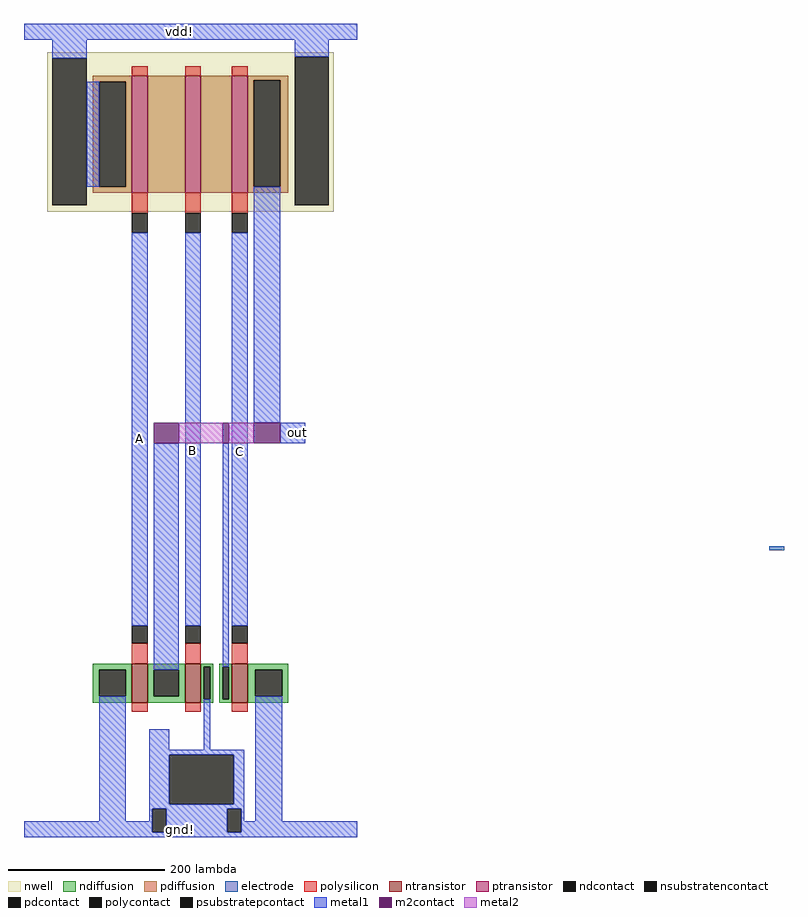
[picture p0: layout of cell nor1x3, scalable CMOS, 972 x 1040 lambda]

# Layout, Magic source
magic
tech scmos
<< nwell >>
rect -174 336 192 540
<< polysilicon >>
rect -66 510 -46 522
rect 2 510 22 522
rect 62 510 82 522
rect -66 334 -46 360
rect 2 334 22 360
rect 62 334 82 360
rect -66 -242 -46 -216
rect 2 -242 22 -216
rect 62 -242 82 -216
rect -66 -304 -46 -292
rect 2 -304 22 -292
rect 62 -304 82 -292
<< electrode >>
rect 749 -97 768 -92
<< ndiffusion >>
rect -116 -250 -66 -242
rect -116 -284 -108 -250
rect -74 -284 -66 -250
rect -116 -292 -66 -284
rect -46 -250 2 -242
rect -46 -284 -38 -250
rect -6 -284 2 -250
rect -46 -292 2 -284
rect 22 -246 38 -242
rect 22 -288 26 -246
rect 34 -288 38 -246
rect 22 -292 38 -288
rect 46 -246 62 -242
rect 46 -288 50 -246
rect 58 -288 62 -246
rect 46 -292 62 -288
rect 82 -250 134 -242
rect 82 -284 92 -250
rect 126 -284 134 -250
rect 82 -292 134 -284
<< pdiffusion >>
rect -116 502 -66 510
rect -116 368 -108 502
rect -74 368 -66 502
rect -116 360 -66 368
rect -46 360 2 510
rect 22 360 62 510
rect 82 504 134 510
rect 82 368 90 504
rect 124 368 134 504
rect 82 360 134 368
<< metal1 >>
rect -204 556 222 576
rect -168 532 -124 556
rect 142 534 186 556
rect -124 368 -108 502
rect -66 -194 -46 309
rect -38 -250 -6 40
rect 2 -194 22 309
rect 50 -246 58 40
rect 62 -194 82 309
rect 90 66 124 368
rect 124 40 156 66
rect -108 -444 -74 -284
rect -44 -352 -18 -326
rect 26 -352 34 -288
rect -44 -359 78 -352
rect -44 -422 -18 -359
rect 64 -422 78 -359
rect -44 -428 78 -422
rect -44 -444 -40 -428
rect -204 -458 -40 -444
rect -22 -458 56 -428
rect 74 -444 78 -428
rect 92 -444 126 -284
rect 74 -458 222 -444
rect -204 -464 222 -458
<< metal2 >>
rect -6 40 50 66
rect 58 40 90 66
<< ntransistor >>
rect -66 -292 -46 -242
rect 2 -292 22 -242
rect 62 -292 82 -242
<< ptransistor >>
rect -66 360 -46 510
rect 2 360 22 510
rect 62 360 82 510
<< polycontact >>
rect -66 309 -46 334
rect 2 309 22 334
rect 62 309 82 334
rect -66 -216 -46 -194
rect 2 -216 22 -194
rect 62 -216 82 -194
<< ndcontact >>
rect -108 -284 -74 -250
rect -38 -284 -6 -250
rect 26 -288 34 -246
rect 50 -288 58 -246
rect 92 -284 126 -250
<< pdcontact >>
rect -108 368 -74 502
rect 90 368 124 504
<< m2contact >>
rect -38 40 -6 66
rect 50 40 58 66
rect 90 40 124 66
<< psubstratepcontact >>
rect -18 -422 64 -359
rect -40 -458 -22 -428
rect 56 -458 74 -428
<< nsubstratencontact >>
rect -168 344 -124 532
rect 142 344 186 534
<< labels >>
rlabel metal1 -5 566 -5 566 1 vdd!
rlabel metal1 -4 -454 -4 -454 1 gnd!
rlabel metal1 146 53 146 53 1 out
rlabel metal1 -56 46 -56 46 1 A
rlabel metal1 11 31 11 31 1 B
rlabel metal1 72 29 72 29 1 C
<< end >>
